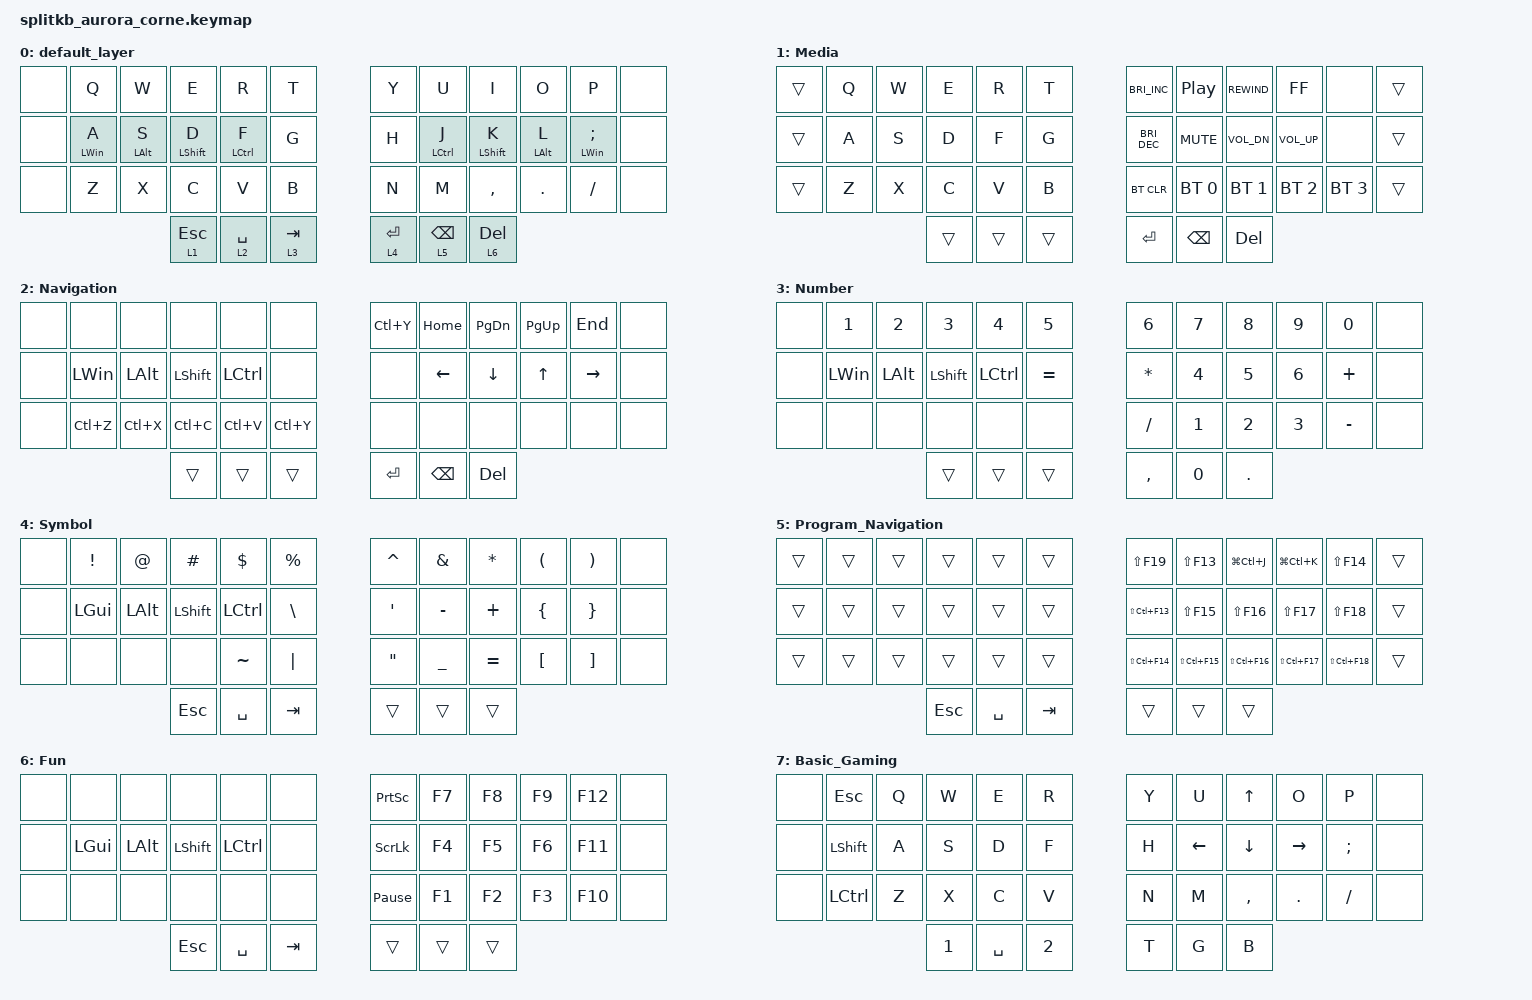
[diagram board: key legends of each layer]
/*
 * Copyright (c) 2020 The ZMK Contributors
 *
 * SPDX-License-Identifier: MIT
 */

#include <behaviors.dtsi>
#include <dt-bindings/zmk/bt.h>
#include <dt-bindings/zmk/keys.h>

/ {
    behaviors {
        HomeRow_Left: HomeRow_Left {
            compatible = "zmk,behavior-hold-tap";
            label = "HOMEROW_LEFT";
            bindings = <&kp>, <&kp>;

            #binding-cells = <2>;
            tapping-term-ms = <200>;
            flavor = "balanced";
            hold-trigger-key-positions = <36 38 6 7 8 9 10 11 18 19 20 21 22 23 30 31 32 33 34 35 39 40 41>;
            hold-trigger-on-release;
        };

        HomeRow_Right: HomeRow_Right {
            compatible = "zmk,behavior-hold-tap";
            label = "HOMEROW_RIGHT";
            bindings = <&kp>, <&kp>;

            #binding-cells = <2>;
            tapping-term-ms = <200>;
            flavor = "balanced";
            hold-trigger-key-positions = <0 1 2 3 4 5 12 13 14 15 16 17 24 25 26 27 28 29 36 37 38 39 40 41>;
            hold-trigger-on-release;
        };
    };

    combos {
        compatible = "zmk,combos";

        Gaming {
            bindings = <&tog 7>;
            key-positions = <25 34>;
            layers = <0 7>;
        };

        Gaming_alternative {
            bindings = <&tog 7>;
            key-positions = <36 41>;
            layers = <0 7>;
            require-prior-idle-ms = <0>;
            slow-release;
            timeout-ms = <100>;
        };

        Search {
            bindings = <&kp LS(LC(F19))>;
            key-positions = <37 40>;
            layers = <0>;
        };
    };

    keymap {
        compatible = "zmk,keymap";

        default_layer {
            // -----------------------------------------------------------------------------------------
            // |  TAB |  Q  |  W  |  E  |  R  |  T  |   |  Y  |  U   |  I  |  O  |  P  | BKSP |
            // | CTRL |  A  |  S  |  D  |  F  |  G  |   |  H  |  J   |  K  |  L  |  ;  |  '   |
            // | SHFT |  Z  |  X  |  C  |  V  |  B  |   |  N  |  M   |  ,  |  .  |  /  | ESC  |
            //                    | GUI | LWR | SPC |   | ENT | RSE  | ALT |

            bindings = <
&none  &kp Q                 &kp W                     &kp E                       &kp R                  &kp T        &kp Y        &kp U                          &kp I                        &kp O                      &kp P                          &none
&none  &HomeRow_Left LWIN A  &HomeRow_Left LEFT_ALT S  &HomeRow_Left LEFT_SHIFT D  &HomeRow_Left LCTRL F  &kp G        &kp H        &HomeRow_Right LEFT_CONTROL J  &HomeRow_Right LEFT_SHIFT K  &HomeRow_Right LEFT_ALT L  &HomeRow_Right LWIN SEMICOLON  &none
&none  &kp Z                 &kp X                     &kp C                       &kp V                  &kp B        &kp N        &kp M                          &kp COMMA                    &kp DOT                    &kp FSLH                       &none
                                                       &lt 1 ESCAPE                &lt 2 SPACE            &lt 3 TAB    &lt 4 ENTER  &lt 5 BACKSPACE                &lt 6 DELETE
            >;
        };

        Media {
            bindings = <
&trans  &kp Q  &kp W  &kp E   &kp R   &kp T     &kp C_BRIGHTNESS_INC  &kp C_PLAY_PAUSE  &kp C_REWIND  &kp C_FF      &none         &trans
&trans  &kp A  &kp S  &kp D   &kp F   &kp G     &kp C_BRIGHTNESS_DEC  &kp C_MUTE        &kp C_VOL_DN  &kp C_VOL_UP  &none         &trans
&trans  &kp Z  &kp X  &kp C   &kp V   &kp B     &bt BT_CLR            &bt BT_SEL 0      &bt BT_SEL 1  &bt BT_SEL 2  &bt BT_SEL 3  &trans
                      &trans  &trans  &trans    &kp ENTER             &kp BACKSPACE     &kp DELETE
            >;
        };

        Navigation {
            // -----------------------------------------------------------------------------------------
            // |  TAB |  1  |  2  |  3  |  4  |  5  |   |  6  |  7  |  8  |  9  |  0  | BKSP |
            // | BTCLR| BT1 | BT2 | BT3 | BT4 | BT5 |   | LFT | DWN |  UP | RGT |     |      |
            // | SHFT |     |     |     |     |     |   |     |     |     |     |     |      |
            //                    | GUI |     | SPC |   | ENT |     | ALT |

            bindings = <
&none  &none         &none         &none           &none             &none        &kp LC(Y)  &kp HOME       &kp PAGE_DOWN  &kp PAGE_UP  &kp END    &none
&none  &kp LEFT_WIN  &kp LEFT_ALT  &kp LEFT_SHIFT  &kp LEFT_CONTROL  &none        &none      &kp LEFT       &kp DOWN       &kp UP       &kp RIGHT  &none
&none  &kp LC(Z)     &kp LC(X)     &kp LC(C)       &kp LC(V)         &kp LC(Y)    &none      &none          &none          &none        &none      &none
                                   &trans          &trans            &trans       &kp ENTER  &kp BACKSPACE  &kp DEL
            >;
        };

        Number {
            bindings = <
&none  &kp NUMBER_1  &kp NUMBER_2  &kp NUMBER_3    &kp NUMBER_4      &kp NUMBER_5    &kp NUMBER_6  &kp NUMBER_7  &kp NUMBER_8  &kp NUMBER_9  &kp NUMBER_0  &none
&none  &kp LEFT_WIN  &kp LEFT_ALT  &kp LEFT_SHIFT  &kp LEFT_CONTROL  &kp EQUAL       &kp ASTERISK  &kp NUMBER_4  &kp NUMBER_5  &kp NUMBER_6  &kp PLUS      &none
&none  &none         &none         &none           &none             &none           &kp SLASH     &kp NUMBER_1  &kp NUMBER_2  &kp NUMBER_3  &kp MINUS     &none
                                   &trans          &trans            &trans          &kp COMMA     &kp NUMBER_0  &kp PERIOD
            >;
        };

        Symbol {
            // -----------------------------------------------------------------------------------------
            // |  TAB |  !  |  @  |  #  |  $  |  %  |   |  ^  |  &  |  *  |  (  |  )  | BKSP |
            // | CTRL |     |     |     |     |     |   |  -  |  =  |  [  |  ]  |  \  |  `   |
            // | SHFT |     |     |     |     |     |   |  _  |  +  |  {  |  }  | "|" |  ~   |
            //                    | GUI |     | SPC |   | ENT |     | ALT |

            bindings = <
&none  &kp EXCL      &kp AT        &kp HASH        &kp DLLR   &kp PRCNT        &kp CARET          &kp AMPS        &kp ASTRK  &kp LPAR          &kp RPAR           &none
&none  &kp LEFT_GUI  &kp LEFT_ALT  &kp LEFT_SHIFT  &kp LCTRL  &kp BACKSLASH    &kp SQT            &kp MINUS       &kp PLUS   &kp LEFT_BRACE    &kp RIGHT_BRACE    &none
&none  &none         &none         &none           &kp TILDE  &kp PIPE         &kp DOUBLE_QUOTES  &kp UNDERSCORE  &kp EQUAL  &kp LEFT_BRACKET  &kp RIGHT_BRACKET  &none
                                   &kp ESCAPE      &kp SPACE  &kp TAB          &trans             &trans          &trans
            >;
        };

        Program_Navigation {
            bindings = <
&trans  &trans  &trans  &trans      &trans     &trans     &kp LS(F19)      &kp LS(F13)      &kp LG(LC(J))    &kp LG(LC(K))    &kp LS(F14)      &trans
&trans  &trans  &trans  &trans      &trans     &trans     &kp LS(LC(F13))  &kp LS(F15)      &kp LS(F16)      &kp LS(F17)      &kp LS(F18)      &trans
&trans  &trans  &trans  &trans      &trans     &trans     &kp LS(LC(F14))  &kp LS(LC(F15))  &kp LS(LC(F16))  &kp LS(LC(F17))  &kp LS(LC(F18))  &trans
                        &kp ESCAPE  &kp SPACE  &kp TAB    &trans           &trans           &trans
            >;
        };

        Fun {
            bindings = <
&none  &none         &none         &none           &none             &none      &kp PRINTSCREEN  &kp F7  &kp F8  &kp F9  &kp F12  &none
&none  &kp LEFT_GUI  &kp LEFT_ALT  &kp LEFT_SHIFT  &kp LEFT_CONTROL  &none      &kp SCROLLLOCK   &kp F4  &kp F5  &kp F6  &kp F11  &none
&none  &none         &none         &none           &none             &none      &kp PAUSE_BREAK  &kp F1  &kp F2  &kp F3  &kp F10  &none
                                   &kp ESCAPE      &kp SPACE         &kp TAB    &trans           &trans  &trans
            >;
        };

        Basic_Gaming {
            bindings = <
&none  &kp ESCAPE        &kp Q  &kp W         &kp E      &kp R           &kp Y  &kp U           &kp UP          &kp O            &kp P          &none
&none  &kp LEFT_SHIFT    &kp A  &kp S         &kp D      &kp F           &kp H  &kp LEFT_ARROW  &kp DOWN_ARROW  &kp RIGHT_ARROW  &kp SEMICOLON  &none
&none  &kp LEFT_CONTROL  &kp Z  &kp X         &kp C      &kp V           &kp N  &kp M           &kp COMMA       &kp DOT          &kp FSLH       &none
                                &kp NUMBER_1  &kp SPACE  &kp NUMBER_2    &kp T  &kp G           &kp B
            >;
        };
    };
};
